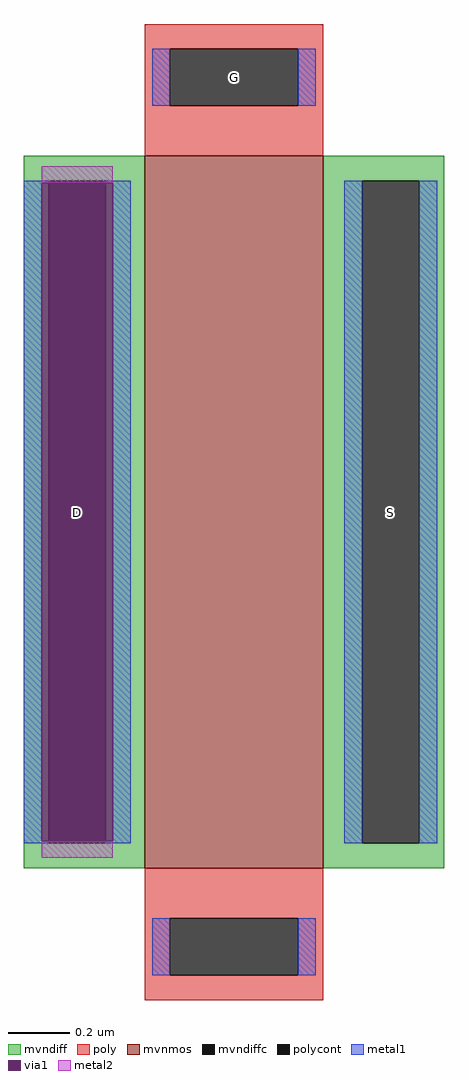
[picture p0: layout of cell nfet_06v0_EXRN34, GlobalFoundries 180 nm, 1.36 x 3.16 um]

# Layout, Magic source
magic
tech gf180mcuD
magscale 3 26
<< mvnmos >>
rect -50 -200 50 200
<< mvndiff >>
rect -118 186 -50 200
rect -118 -186 -104 186
rect -72 -186 -50 186
rect -118 -200 -50 -186
rect 50 186 118 200
rect 50 -186 72 186
rect 104 -186 118 186
rect 50 -200 118 -186
<< mvndiffc >>
rect -104 -186 -72 186
rect 72 -186 104 186
<< poly >>
rect -50 260 50 274
rect -50 228 -36 260
rect 36 228 50 260
rect -50 200 50 228
rect -50 -228 50 -200
rect -50 -260 -36 -228
rect 36 -260 50 -228
rect -50 -274 50 -260
<< polycont >>
rect -36 228 36 260
rect -36 -260 36 -228
<< metal1 >>
rect -46 228 -36 260
rect 36 228 46 260
rect -118 185 -104 186
rect -72 185 -58 186
rect -118 -185 -108 185
rect -68 -185 -58 185
rect -118 -186 -104 -185
rect -72 -186 -58 -185
rect 62 -186 72 186
rect 104 -186 114 186
rect -46 -260 -36 -228
rect 36 -260 46 -228
<< via1 >>
rect -108 -185 -104 185
rect -104 -185 -72 185
rect -72 -185 -68 185
<< metal2 >>
rect -108 185 -68 194
rect -108 -194 -68 -185
<< labels >>
rlabel mvndiffc -88 0 -88 0 0 D
port 1 nsew
rlabel mvndiffc 88 0 88 0 0 S
port 2 nsew
rlabel polycont 0 244 0 244 0 G
port 3 nsew
<< properties >>
string gencell nfet_05v0
string library gf180mcu
string parameters w 2.0 l 0.5 m 1 ng 1 diffcov 100 polycov 100 guard 0 glc 1 grc 1 gtc 1 gbc 1 tbcov 100 rlcov 100 topc 1 botc 1 poverlap 0 doverlap 1 lmin 0.45 wmin 0.15 class mosfet compatible {nfet_05v0 nfet_06v0} full_metal 1 conn_gates 0 gate_ring 0 doports 1 viasrc 0 viadrn 100 viagate 0 ccols 1 viagb 0 viagr 0 viagl 0 viagt 0
<< end >>
